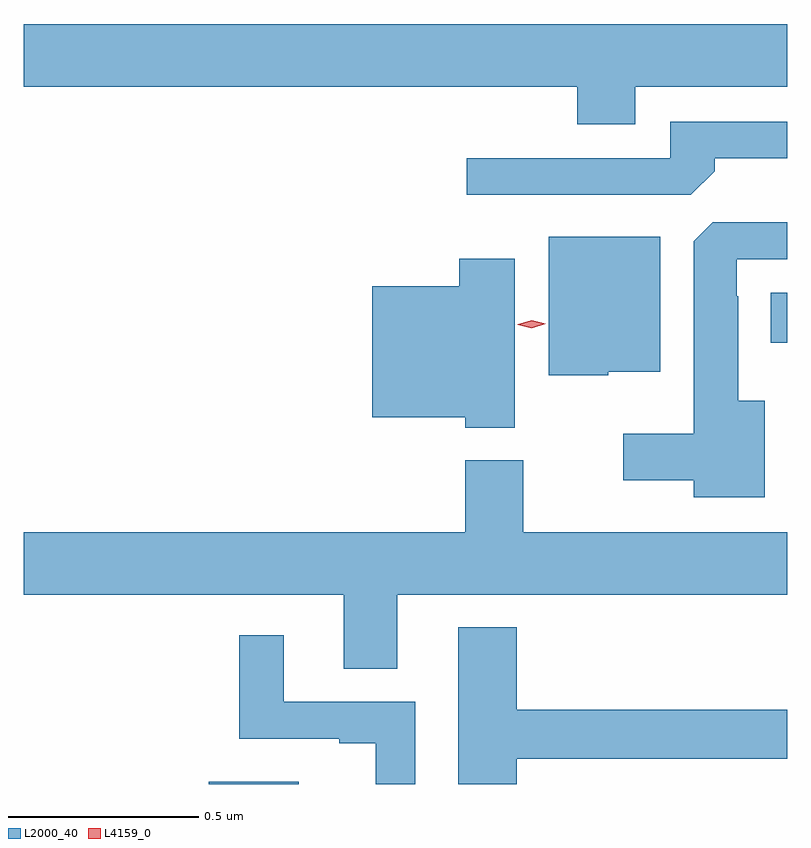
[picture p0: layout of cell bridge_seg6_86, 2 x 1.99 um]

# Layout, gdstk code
import gdstk
lib = gdstk.Library(unit=1e-6, precision=1e-09)
def R(c, l, rs):  # rectangles x0, y0, x1, y1
    for r in rs: c.add(gdstk.rectangle(r[:2], r[2:], *l))
def P(c, l, *ps):  # polygons
    for p in ps: c.add(gdstk.Polygon(p, *l))
L2000_40 = (2000, 40)
L4159_0 = (4159, 0)

bridge_seg6_86 = lib.new_cell('bridge_seg6_86')
R(bridge_seg6_86, L2000_40, [(729.683,966.82,729.919,966.826), (731.156,967.976,731.199,968.107)])
P(bridge_seg6_86, L2000_40, [(730.801,968.648),(731.199,968.648),(731.199,968.812),(729.199,968.812),(729.199,968.648),(730.649,968.648),(730.649,968.549),(730.801,968.549)],
  [(731.009,968.426),(731.009,968.46),(731.199,968.46),(731.199,968.556),(730.893,968.556),(730.893,968.46),(730.359,968.46),(730.359,968.364),(730.947,968.364)],
  [(731.14,967.825),(731.071,967.825),(731.071,968.099),(731.067,968.099),(731.067,968.196),(731.199,968.196),(731.199,968.292),(731.004,968.292),(730.955,968.243),(730.955,967.738),(730.77,967.738),(730.77,967.616),(730.955,967.616),(730.955,967.571),(731.14,967.571)],
  [(730.731,967.901),(730.867,967.901),(730.867,968.254),(730.574,968.254),(730.574,967.892),(730.731,967.892)],
  [(730.486,968.197),(730.34,968.197),(730.34,968.125),(730.112,968.125),(730.112,967.781),(730.356,967.781),(730.356,967.754),(730.486,967.754)],
  [(729.199,967.316),(730.037,967.316),(730.037,967.122),(730.177,967.122),(730.177,967.316),(731.199,967.316),(731.199,967.48),(730.507,967.48),(730.507,967.669),(730.355,967.669),(730.355,967.48),(729.199,967.48)],
  [(730.49,966.886),(731.199,966.886),(731.199,967.015),(730.49,967.015),(730.49,967.231),(730.337,967.231),(730.337,966.82),(730.49,966.82)],
  [(730.225,967.035),(729.88,967.035),(729.88,967.21),(729.763,967.21),(729.763,966.939),(730.025,966.939),(730.025,966.927),(730.121,966.927),(730.121,966.82),(730.225,966.82)])
P(bridge_seg6_86, L4159_0, [(730.53,968.015),(730.493,968.024),(730.493,968.024),(730.493,968.025),(730.53,968.035),(730.566,968.026),(730.567,968.026),(730.566,968.026)])

lib.write_gds('bridge_seg6_86.gds')
